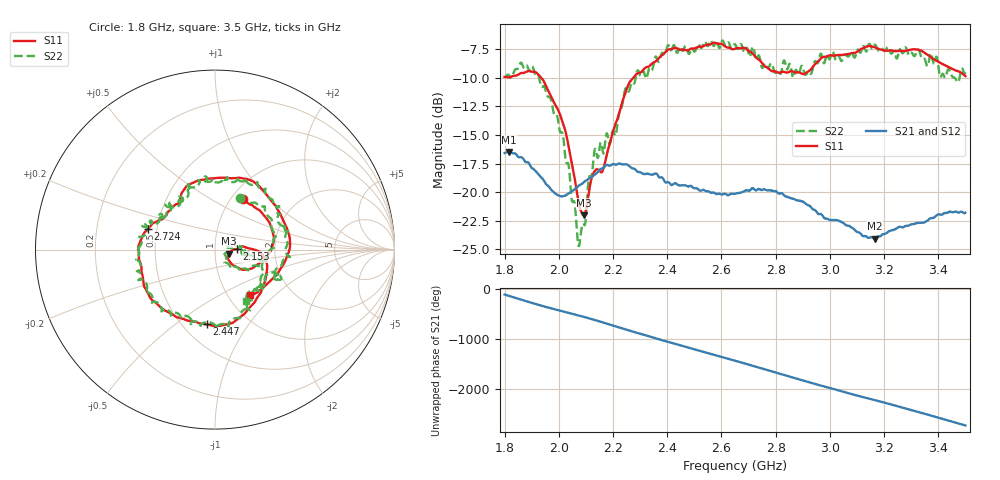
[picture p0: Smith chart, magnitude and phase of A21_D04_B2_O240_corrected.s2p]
! Created with skrf 1.9.0 (http://scikit-rf.org).
# Hz S RI R 50.0
!freq ReS11 ImS11 ReS21 ImS21 ReS12 ImS12 ReS22 ImS22
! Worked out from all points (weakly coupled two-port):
!   1601 points, 1.8 GHz to 3.5 GHz, reference 50 ohm
!   highest |S21| = -16.48 dB at 1.817 GHz (marker M1); lowest = -24.1 dB at 3.165 GHz (marker M2)
!   lowest |S11| = -22.0 dB at 2.093 GHz (marker M3), VSWR 1.17, Z = 58.1 - j2.65 ohm
!   |S11| at or under -10 dB: 1.935 GHz to 2.275 GHz (340.4 MHz wide, 16.2 % of centre)
!   |S22| runs from -24.7 to -6.7 dB; largest |S21 - S12| = 0.0024
!   S11 on the Smith chart (normalised r, x): 1.8 GHz: 1.13, +0.70; 2.153 GHz: 1.28, +0.01; 2.447 GHz: 0.65, -0.66; 2.724 GHz: 0.45, +0.12; 3.5 GHz: 1.26, -0.72
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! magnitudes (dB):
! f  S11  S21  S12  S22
! 1.8 GHz  -9.9  -16.6  -16.6  -9.9
! 1.817 GHz  -10.0  -16.5  -16.5  -9.8
! 1.903 GHz  -9.5  -17.9  -17.9  -9.0
! 1.968 GHz  -11.5  -19.7  -19.7  -11.7
! 2.023 GHz  -14.6  -20.3  -20.3  -16.8
! 2.071 GHz  -20.6  -19.5  -19.5  -24.5
! 2.084 GHz  -21.8  -19.3  -19.2  -23.2
! 2.093 GHz  -22.0  -19.1  -19.2  -22.8
! 2.13 GHz  -18.2  -18.5  -18.5  -16.6
! 2.153 GHz  -18.2  -18.0  -18.0  -15.8
! 2.209 GHz  -14.0  -17.6  -17.5  -15.1
! 2.259 GHz  -10.5  -17.7  -17.7  -11.2
! 2.367 GHz  -8.3  -18.6  -18.6  -8.6
! 2.447 GHz  -7.6  -19.4  -19.4  -7.3
! 2.65 GHz  -7.5  -20.1  -20.1  -7.1
! 2.724 GHz  -8.2  -19.8  -19.8  -8.1
! 2.802 GHz  -9.5  -19.9  -19.9  -9.5
! 2.934 GHz  -9.2  -21.4  -21.4  -9.5
! 3.165 GHz  -7.3  -24.1  -24.0  -7.1
! 3.217 GHz  -7.6  -23.4  -23.4  -7.4
! 3.331 GHz  -7.6  -22.7  -22.7  -7.7
! 3.5 GHz  -9.9  -21.8  -21.8  -9.5
